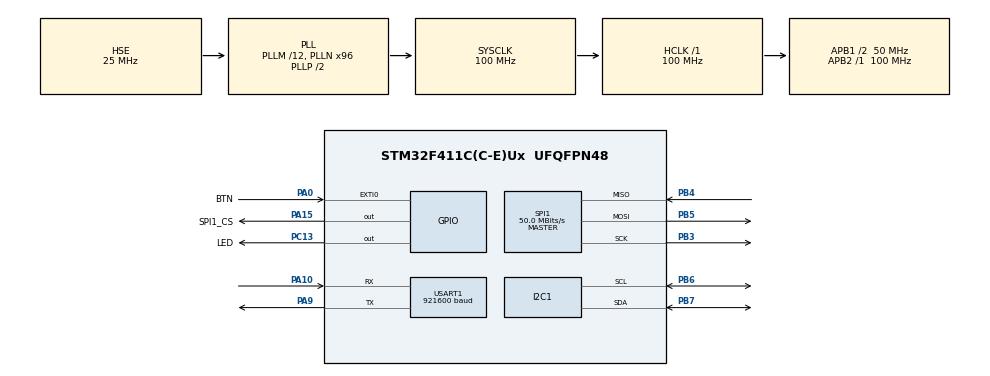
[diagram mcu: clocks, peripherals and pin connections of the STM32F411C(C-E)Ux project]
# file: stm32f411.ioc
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Mcu.Family=STM32F4
Mcu.Name=STM32F411C(C-E)Ux
Mcu.Package=UFQFPN48
NVIC.EXTI0_IRQn=true\:0\:0\:false\:false\:true\:true\:true\:true
NVIC.PriorityGroup=NVIC_PRIORITYGROUP_4
PA0-WKUP.GPIO_Label=BTN
PA0-WKUP.GPIO_ModeDefaultEXTI=GPIO_MODE_IT_FALLING
PA0-WKUP.GPIO_PuPd=GPIO_PULLUP
PA0-WKUP.Signal=GPXTI0
PA10.Mode=Asynchronous
PA10.Signal=USART1_RX
PA13.Mode=Serial_Wire
PA13.Signal=SYS_JTMS-SWDIO
PA14.Mode=Serial_Wire
PA14.Signal=SYS_JTCK-SWCLK
PA15.GPIO_Label=SPI1_CS
PA15.GPIO_Speed=GPIO_SPEED_FREQ_VERY_HIGH
PA15.PinState=GPIO_PIN_SET
PA15.Signal=GPIO_Output
PA9.Mode=Asynchronous
PA9.Signal=USART1_TX
PB3.Mode=Full_Duplex_Master
PB3.Signal=SPI1_SCK
PB4.Mode=Full_Duplex_Master
PB4.Signal=SPI1_MISO
PB5.Mode=Full_Duplex_Master
PB5.Signal=SPI1_MOSI
PB6.GPIO_Pu=GPIO_PULLUP
PB6.Mode=I2C
PB6.Signal=I2C1_SCL
PB7.GPIO_Pu=GPIO_PULLUP
PB7.Mode=I2C
PB7.Signal=I2C1_SDA
PC13-ANTI_TAMP.GPIO_Label=LED
PC13-ANTI_TAMP.GPIO_ModeDefaultOutputPP=GPIO_MODE_OUTPUT_OD
PC13-ANTI_TAMP.GPIO_PuPd=GPIO_NOPULL
PC13-ANTI_TAMP.PinState=GPIO_PIN_SET
PC13-ANTI_TAMP.Signal=GPIO_Output
PH0\ -\ OSC_IN.Mode=HSE-External-Oscillator
PH0\ -\ OSC_IN.Signal=RCC_OSC_IN
PH1\ -\ OSC_OUT.Mode=HSE-External-Oscillator
PH1\ -\ OSC_OUT.Signal=RCC_OSC_OUT
ProjectManager.HeapSize=0x200
ProjectManager.StackSize=0x400
ProjectManager.TargetToolchain=STM32CubeIDE
RCC.48MHZClocksFreq_Value=50000000
RCC.AHBFreq_Value=100000000
RCC.APB1CLKDivider=RCC_HCLK_DIV2
RCC.APB1Freq_Value=50000000
RCC.APB1TimFreq_Value=100000000
RCC.APB2Freq_Value=100000000
RCC.APB2TimFreq_Value=100000000
RCC.CortexFreq_Value=100000000
RCC.HCLKFreq_Value=100000000
RCC.HSE_VALUE=25000000
RCC.HSI_VALUE=16000000
RCC.LSE_VALUE=32768
RCC.PLLM=12
RCC.PLLN=96
RCC.PLLSourceVirtual=RCC_PLLSOURCE_HSE
RCC.SYSCLKFreq_VALUE=100000000
RCC.SYSCLKSource=RCC_SYSCLKSOURCE_PLLCLK
RCC.VCOOutputFreq_Value=200000000
SPI1.CalculateBaudRate=50.0 MBits/s
SPI1.Direction=SPI_DIRECTION_2LINES
SPI1.Mode=SPI_MODE_MASTER
SPI1.VirtualType=VM_MASTER
USART1.BaudRate=921600
USART1.VirtualMode=VM_ASYNC
board=custom

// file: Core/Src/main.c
/* USER CODE BEGIN Header */
/**
 ******************************************************************************
 * @file           : main.c
 * @brief          : Main program body
 ******************************************************************************
 * @attention
 *
 * Copyright (c) 2023 STMicroelectronics.
 * All rights reserved.
 *
 * This software is licensed under terms that can be found in the LICENSE file
 * in the root directory of this software component.
 * If no LICENSE file comes with this software, it is provided AS-IS.
 *
 ******************************************************************************
 */
/* USER CODE END Header */
#include "main.h"

/* USER CODE BEGIN Includes */
#include <stdio.h>
/* USER CODE END Includes */

I2C_HandleTypeDef hi2c1;

SPI_HandleTypeDef hspi1;

UART_HandleTypeDef huart1;

/* USER CODE BEGIN PV */

uint8_t handle_scan = 1;

/* USER CODE END PV */

void SystemClock_Config(void);
static void MX_GPIO_Init(void);
static void MX_I2C1_Init(void);
static void MX_USART1_UART_Init(void);
static void MX_SPI1_Init(void);

/* USER CODE BEGIN 0 */

// Send printf to uart1
int _write(int fd, char *ptr, int len) {
    HAL_StatusTypeDef hstatus;

    if (fd == 1 || fd == 2) {
        hstatus = HAL_UART_Transmit(&huart1, (uint8_t*) ptr, len, HAL_MAX_DELAY);
        if (hstatus == HAL_OK)
            return len;
        else
            return -1;
    }
    return -1;
}

void HAL_GPIO_EXTI_Callback(uint16_t GPIO_Pin) {
    if (GPIO_Pin == BTN_Pin) // If the button
    {
        handle_scan = 1;
    }
}

void do_i2c_scan() {

    printf("I2C Bus Scan:\n");

    // Go through all possible i2c addresses
      for (uint8_t i = 0; i < 128; i++) {

          if (HAL_I2C_IsDeviceReady(&hi2c1, (uint16_t)(i<<1), 3, 5) == HAL_OK) {
              // We got an ack
              printf("%2x ", i);
          } else {
              printf("-- ");
          }

          if (i > 0 && (i + 1) % 16 == 0) printf("\n");

      }

      printf("\n");

}

/* USER CODE END 0 */

int main(void)
{

  /* MCU Configuration--------------------------------------------------------*/

  /* Reset of all peripherals, Initializes the Flash interface and the Systick. */
  HAL_Init();

  /* Configure the system clock */
  SystemClock_Config();

  /* Initialize all configured peripherals */
  MX_GPIO_Init();
  MX_I2C1_Init();
  MX_USART1_UART_Init();
  MX_SPI1_Init();
  /* USER CODE BEGIN 2 */

    DBG("\n\n\n--------\nStarting");

  /* USER CODE END 2 */

  /* Infinite loop */
  /* USER CODE BEGIN WHILE */

    uint32_t now = 0, last_blink = 0;

    while (1) {

        now = HAL_GetTick();

        if (now - last_blink >= 500) {
            HAL_GPIO_TogglePin(LED_GPIO_Port, LED_Pin);
            last_blink = now;
        }

        if (handle_scan) {
            do_i2c_scan();
            handle_scan = 0;
        }

    /* USER CODE END WHILE */

    }
}

void SystemClock_Config(void)
{
  RCC_OscInitTypeDef RCC_OscInitStruct = {0};
  RCC_ClkInitTypeDef RCC_ClkInitStruct = {0};

  /** Configure the main internal regulator output voltage
  */
  __HAL_RCC_PWR_CLK_ENABLE();
  __HAL_PWR_VOLTAGESCALING_CONFIG(PWR_REGULATOR_VOLTAGE_SCALE1);

  /** Initializes the RCC Oscillators according to the specified parameters
  * in the RCC_OscInitTypeDef structure.
  */
  RCC_OscInitStruct.OscillatorType = RCC_OSCILLATORTYPE_HSE;
  RCC_OscInitStruct.HSEState = RCC_HSE_ON;
  RCC_OscInitStruct.PLL.PLLState = RCC_PLL_ON;
  RCC_OscInitStruct.PLL.PLLSource = RCC_PLLSOURCE_HSE;
  RCC_OscInitStruct.PLL.PLLM = 12;
  RCC_OscInitStruct.PLL.PLLN = 96;
  RCC_OscInitStruct.PLL.PLLP = RCC_PLLP_DIV2;
  RCC_OscInitStruct.PLL.PLLQ = 4;
  if (HAL_RCC_OscConfig(&RCC_OscInitStruct) != HAL_OK)
  {
    Error_Handler();
  }

  /** Initializes the CPU, AHB and APB buses clocks
  */
  RCC_ClkInitStruct.ClockType = RCC_CLOCKTYPE_HCLK|RCC_CLOCKTYPE_SYSCLK
                              |RCC_CLOCKTYPE_PCLK1|RCC_CLOCKTYPE_PCLK2;
  RCC_ClkInitStruct.SYSCLKSource = RCC_SYSCLKSOURCE_PLLCLK;
  RCC_ClkInitStruct.AHBCLKDivider = RCC_SYSCLK_DIV1;
  RCC_ClkInitStruct.APB1CLKDivider = RCC_HCLK_DIV2;
  RCC_ClkInitStruct.APB2CLKDivider = RCC_HCLK_DIV1;

  if (HAL_RCC_ClockConfig(&RCC_ClkInitStruct, FLASH_LATENCY_3) != HAL_OK)
  {
    Error_Handler();
  }
}

static void MX_I2C1_Init(void)
{

  hi2c1.Instance = I2C1;
  hi2c1.Init.ClockSpeed = 100000;
  hi2c1.Init.DutyCycle = I2C_DUTYCYCLE_2;
  hi2c1.Init.OwnAddress1 = 0;
  hi2c1.Init.AddressingMode = I2C_ADDRESSINGMODE_7BIT;
  hi2c1.Init.DualAddressMode = I2C_DUALADDRESS_DISABLE;
  hi2c1.Init.OwnAddress2 = 0;
  hi2c1.Init.GeneralCallMode = I2C_GENERALCALL_DISABLE;
  hi2c1.Init.NoStretchMode = I2C_NOSTRETCH_DISABLE;
  if (HAL_I2C_Init(&hi2c1) != HAL_OK)
  {
    Error_Handler();
  }

}

static void MX_SPI1_Init(void)
{

  /* SPI1 parameter configuration*/
  hspi1.Instance = SPI1;
  hspi1.Init.Mode = SPI_MODE_MASTER;
  hspi1.Init.Direction = SPI_DIRECTION_2LINES;
  hspi1.Init.DataSize = SPI_DATASIZE_8BIT;
  hspi1.Init.CLKPolarity = SPI_POLARITY_LOW;
  hspi1.Init.CLKPhase = SPI_PHASE_1EDGE;
  hspi1.Init.NSS = SPI_NSS_SOFT;
  hspi1.Init.BaudRatePrescaler = SPI_BAUDRATEPRESCALER_2;
  hspi1.Init.FirstBit = SPI_FIRSTBIT_MSB;
  hspi1.Init.TIMode = SPI_TIMODE_DISABLE;
  hspi1.Init.CRCCalculation = SPI_CRCCALCULATION_DISABLE;
  hspi1.Init.CRCPolynomial = 10;
  if (HAL_SPI_Init(&hspi1) != HAL_OK)
  {
    Error_Handler();
  }

}

static void MX_USART1_UART_Init(void)
{

  huart1.Instance = USART1;
  huart1.Init.BaudRate = 921600;
  huart1.Init.WordLength = UART_WORDLENGTH_8B;
  huart1.Init.StopBits = UART_STOPBITS_1;
  huart1.Init.Parity = UART_PARITY_NONE;
  huart1.Init.Mode = UART_MODE_TX_RX;
  huart1.Init.HwFlowCtl = UART_HWCONTROL_NONE;
  huart1.Init.OverSampling = UART_OVERSAMPLING_16;
  if (HAL_UART_Init(&huart1) != HAL_OK)
  {
    Error_Handler();
  }

}

static void MX_GPIO_Init(void)
{
  GPIO_InitTypeDef GPIO_InitStruct = {0};

  /* GPIO Ports Clock Enable */
  __HAL_RCC_GPIOC_CLK_ENABLE();
  __HAL_RCC_GPIOH_CLK_ENABLE();
  __HAL_RCC_GPIOA_CLK_ENABLE();
  __HAL_RCC_GPIOB_CLK_ENABLE();

  /*Configure GPIO pin Output Level */
  HAL_GPIO_WritePin(LED_GPIO_Port, LED_Pin, GPIO_PIN_SET);

  /*Configure GPIO pin Output Level */
  HAL_GPIO_WritePin(SPI1_CS_GPIO_Port, SPI1_CS_Pin, GPIO_PIN_SET);

  /*Configure GPIO pin : LED_Pin */
  GPIO_InitStruct.Pin = LED_Pin;
  GPIO_InitStruct.Mode = GPIO_MODE_OUTPUT_OD;
  GPIO_InitStruct.Pull = GPIO_NOPULL;
  GPIO_InitStruct.Speed = GPIO_SPEED_FREQ_LOW;
  HAL_GPIO_Init(LED_GPIO_Port, &GPIO_InitStruct);

  /*Configure GPIO pin : BTN_Pin */
  GPIO_InitStruct.Pin = BTN_Pin;
  GPIO_InitStruct.Mode = GPIO_MODE_IT_FALLING;
  GPIO_InitStruct.Pull = GPIO_PULLUP;
  HAL_GPIO_Init(BTN_GPIO_Port, &GPIO_InitStruct);

  /*Configure GPIO pin : SPI1_CS_Pin */
  GPIO_InitStruct.Pin = SPI1_CS_Pin;
  GPIO_InitStruct.Mode = GPIO_MODE_OUTPUT_PP;
  GPIO_InitStruct.Pull = GPIO_NOPULL;
  GPIO_InitStruct.Speed = GPIO_SPEED_FREQ_VERY_HIGH;
  HAL_GPIO_Init(SPI1_CS_GPIO_Port, &GPIO_InitStruct);

  /* EXTI interrupt init*/
  HAL_NVIC_SetPriority(EXTI0_IRQn, 0, 0);
  HAL_NVIC_EnableIRQ(EXTI0_IRQn);

}

void Error_Handler(void)
{
    __disable_irq();
    while (1) {
    }
}
